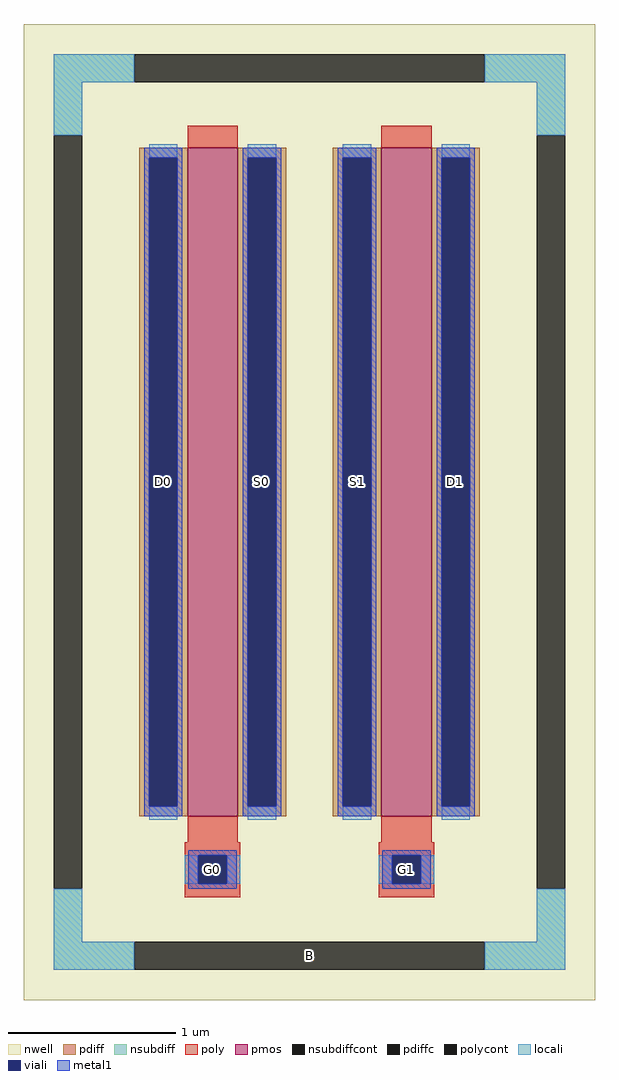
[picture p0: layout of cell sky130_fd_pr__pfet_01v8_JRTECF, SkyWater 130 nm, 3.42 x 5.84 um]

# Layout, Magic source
magic
tech sky130A
magscale 1 2
<< nwell >>
rect -342 -584 342 584
<< pmos >>
rect -146 -364 -86 436
rect 86 -364 146 436
<< pdiff >>
rect -204 424 -146 436
rect -204 -352 -192 424
rect -158 -352 -146 424
rect -204 -364 -146 -352
rect -86 424 -28 436
rect -86 -352 -74 424
rect -40 -352 -28 424
rect -86 -364 -28 -352
rect 28 424 86 436
rect 28 -352 40 424
rect 74 -352 86 424
rect 28 -364 86 -352
rect 146 424 204 436
rect 146 -352 158 424
rect 192 -352 204 424
rect 146 -364 204 -352
<< pdiffc >>
rect -192 -352 -158 424
rect -74 -352 -40 424
rect 40 -352 74 424
rect 158 -352 192 424
<< nsubdiff >>
rect -306 514 -210 548
rect 210 514 306 548
rect -306 451 -272 514
rect 272 451 306 514
rect -306 -514 -272 -451
rect 272 -514 306 -451
rect -306 -548 -210 -514
rect 210 -548 306 -514
<< nsubdiffcont >>
rect -210 514 210 548
rect -306 -451 -272 451
rect 272 -451 306 451
rect -210 -548 210 -514
<< poly >>
rect -146 436 -86 462
rect 86 436 146 462
rect -146 -395 -86 -364
rect 86 -395 146 -364
rect -149 -411 -83 -395
rect -149 -445 -133 -411
rect -99 -445 -83 -411
rect -149 -461 -83 -445
rect 83 -411 149 -395
rect 83 -445 99 -411
rect 133 -445 149 -411
rect 83 -461 149 -445
<< polycont >>
rect -133 -445 -99 -411
rect 99 -445 133 -411
<< locali >>
rect -306 514 -210 548
rect 210 514 306 548
rect -306 451 -272 514
rect 272 451 306 514
rect -192 424 -158 440
rect -192 -368 -158 -352
rect -74 424 -40 440
rect -74 -368 -40 -352
rect 40 424 74 440
rect 40 -368 74 -352
rect 158 424 192 440
rect 158 -368 192 -352
rect -149 -445 -133 -411
rect -99 -445 -83 -411
rect 83 -445 99 -411
rect 133 -445 149 -411
rect -306 -514 -272 -451
rect 272 -514 306 -451
rect -306 -548 -210 -514
rect 210 -548 306 -514
<< viali >>
rect -192 -352 -158 424
rect -74 -352 -40 424
rect 40 -352 74 424
rect 158 -352 192 424
rect -133 -445 -99 -411
rect 99 -445 133 -411
<< metal1 >>
rect -198 424 -152 436
rect -198 -352 -192 424
rect -158 -352 -152 424
rect -198 -364 -152 -352
rect -80 424 -34 436
rect -80 -352 -74 424
rect -40 -352 -34 424
rect -80 -364 -34 -352
rect 34 424 80 436
rect 34 -352 40 424
rect 74 -352 80 424
rect 34 -364 80 -352
rect 152 424 198 436
rect 152 -352 158 424
rect 192 -352 198 424
rect 152 -364 198 -352
rect -145 -411 -87 -405
rect -145 -445 -133 -411
rect -99 -445 -87 -411
rect -145 -451 -87 -445
rect 87 -411 145 -405
rect 87 -445 99 -411
rect 133 -445 145 -411
rect 87 -451 145 -445
<< labels >>
rlabel nsubdiffcont 0 -531 0 -531 0 B
port 1 nsew
rlabel pdiffc -175 36 -175 36 0 D0
port 2 nsew
rlabel pdiffc -57 36 -57 36 0 S0
port 3 nsew
rlabel polycont -116 -428 -116 -428 0 G0
port 4 nsew
rlabel pdiffc 175 36 175 36 0 D1
port 5 nsew
rlabel pdiffc 57 36 57 36 0 S1
port 6 nsew
rlabel polycont 116 -428 116 -428 0 G1
port 7 nsew
<< properties >>
string FIXED_BBOX -289 -531 289 531
string gencell sky130_fd_pr__pfet_01v8
string library sky130
string parameters w 4 l 0.3 m 1 nf 2 diffcov 100 polycov 100 guard 1 glc 1 grc 1 gtc 1 gbc 1 tbcov 100 rlcov 100 topc 0 botc 1 poverlap 0 doverlap 0 lmin 0.15 wmin 0.42 class mosfet compatible {sky130_fd_pr__pfet_01v8  sky130_fd_pr__pfet_01v8_lvt sky130_fd_pr__pfet_01v8_hvt  sky130_fd_pr__pfet_g5v0d10v5} full_metal 1 conn_gates 0 viasrc 100 viadrn 100 viagate 100 viagb 0 viagr 0 viagl 0 viagt 0 doports 1
<< end >>
